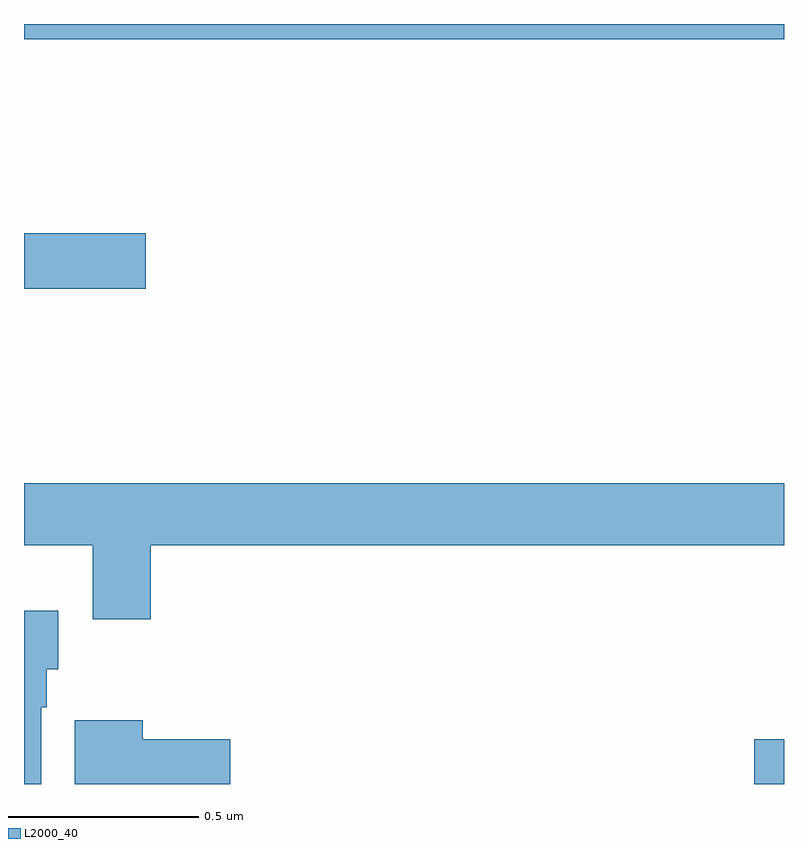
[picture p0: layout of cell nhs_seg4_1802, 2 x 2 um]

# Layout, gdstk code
import gdstk
lib = gdstk.Library(unit=1e-6, precision=1e-09)
def R(c, l, rs):  # rectangles x0, y0, x1, y1
    for r in rs: c.add(gdstk.rectangle(r[:2], r[2:], *l))
def P(c, l, *ps):  # polygons
    for p in ps: c.add(gdstk.Polygon(p, *l))
L2000_40 = (2000, 40)

nhs_seg4_1802 = lib.new_cell('nhs_seg4_1802')
R(nhs_seg4_1802, L2000_40, [(134.922,754.9,135,755.018), (133,756.203,133.321,756.35), (133,756.86,135,756.9)])
P(nhs_seg4_1802, L2000_40, [(133.334,755.528),(135,755.528),(135,755.692),(133,755.692),(133,755.528),(133.181,755.528),(133.181,755.334),(133.334,755.334)],
  [(133.045,755.102),(133.06,755.102),(133.06,755.202),(133.09,755.202),(133.09,755.356),(133,755.356),(133,754.9),(133.045,754.9)],
  [(133.543,755.018),(133.312,755.018),(133.312,755.068),(133.133,755.068),(133.133,754.9),(133.543,754.9)])

lib.write_gds('nhs_seg4_1802.gds')
